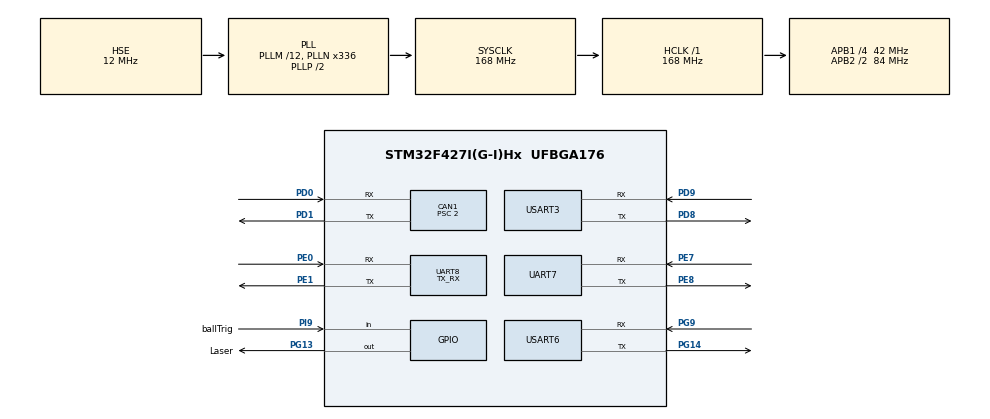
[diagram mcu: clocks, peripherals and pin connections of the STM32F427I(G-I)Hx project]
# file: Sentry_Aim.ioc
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CAN1.BS1=CAN_BS1_14TQ
CAN1.BS2=CAN_BS2_6TQ
CAN1.CalculateTimeQuantum=47.61904761904762
CAN1.NART=ENABLE
CAN1.Prescaler=2
CAN1.TXFP=ENABLE
Dma.Request0=UART8_RX
Dma.Request1=USART3_RX
Dma.Request2=USART6_RX
Dma.UART8_RX.0.Direction=DMA_PERIPH_TO_MEMORY
Dma.UART8_RX.0.FIFOMode=DMA_FIFOMODE_DISABLE
Dma.UART8_RX.0.Instance=DMA1_Stream6
Dma.UART8_RX.0.MemDataAlignment=DMA_MDATAALIGN_BYTE
Dma.UART8_RX.0.MemInc=DMA_MINC_ENABLE
Dma.UART8_RX.0.Mode=DMA_NORMAL
Dma.UART8_RX.0.PeriphDataAlignment=DMA_PDATAALIGN_BYTE
Dma.UART8_RX.0.PeriphInc=DMA_PINC_DISABLE
Dma.UART8_RX.0.Priority=DMA_PRIORITY_LOW
Dma.USART3_RX.1.Direction=DMA_PERIPH_TO_MEMORY
Dma.USART3_RX.1.FIFOMode=DMA_FIFOMODE_DISABLE
Dma.USART3_RX.1.Instance=DMA1_Stream1
Dma.USART3_RX.1.MemDataAlignment=DMA_MDATAALIGN_BYTE
Dma.USART3_RX.1.MemInc=DMA_MINC_ENABLE
Dma.USART3_RX.1.Mode=DMA_NORMAL
Dma.USART3_RX.1.PeriphDataAlignment=DMA_PDATAALIGN_BYTE
Dma.USART3_RX.1.PeriphInc=DMA_PINC_DISABLE
Dma.USART3_RX.1.Priority=DMA_PRIORITY_LOW
Dma.USART6_RX.2.Direction=DMA_PERIPH_TO_MEMORY
Dma.USART6_RX.2.FIFOMode=DMA_FIFOMODE_DISABLE
Dma.USART6_RX.2.Instance=DMA2_Stream1
Dma.USART6_RX.2.MemDataAlignment=DMA_MDATAALIGN_BYTE
Dma.USART6_RX.2.MemInc=DMA_MINC_ENABLE
Dma.USART6_RX.2.Mode=DMA_NORMAL
Dma.USART6_RX.2.PeriphDataAlignment=DMA_PDATAALIGN_BYTE
Dma.USART6_RX.2.PeriphInc=DMA_PINC_DISABLE
Dma.USART6_RX.2.Priority=DMA_PRIORITY_LOW
Mcu.Family=STM32F4
Mcu.Name=STM32F427I(G-I)Hx
Mcu.Package=UFBGA176
NVIC.CAN1_RX0_IRQn=true\:2\:2\:true\:false\:true\:true\:true
NVIC.DMA1_Stream1_IRQn=true\:0\:0\:false\:false\:true\:false\:true
NVIC.DMA1_Stream6_IRQn=true\:0\:0\:false\:false\:true\:false\:true
NVIC.DMA2_Stream1_IRQn=true\:0\:0\:false\:false\:true\:false\:true
NVIC.PriorityGroup=NVIC_PRIORITYGROUP_2
NVIC.TIM6_DAC_IRQn=true\:3\:3\:true\:false\:true\:true\:true
NVIC.UART8_IRQn=true\:0\:2\:true\:false\:true\:true\:true
NVIC.USART3_IRQn=true\:1\:2\:true\:false\:true\:true\:true
NVIC.USART6_IRQn=true\:1\:2\:true\:false\:true\:true\:true
PD0.Mode=Master
PD0.Signal=CAN1_RX
PD1.Mode=Master
PD1.Signal=CAN1_TX
PD8.Mode=Multiprocessor_communication
PD8.Signal=USART3_TX
PD9.Mode=Multiprocessor_communication
PD9.Signal=USART3_RX
PE0.Mode=Multiprocessor_communication
PE0.Signal=UART8_RX
PE1.Mode=Multiprocessor_communication
PE1.Signal=UART8_TX
PE7.Mode=Multiprocessor_communication
PE7.Signal=UART7_RX
PE8.Mode=Multiprocessor_communication
PE8.Signal=UART7_TX
PG13.GPIO_Label=Laser
PG13.GPIO_PuPd=GPIO_PULLDOWN
PG13.GPIO_Speed=GPIO_SPEED_FREQ_VERY_HIGH
PG13.PinState=GPIO_PIN_SET
PG13.Signal=GPIO_Output
PG14.Mode=Multiprocessor_communication
PG14.Signal=USART6_TX
PG9.Mode=Multiprocessor_communication
PG9.Signal=USART6_RX
PH0/OSC_IN.Mode=HSE-External-Oscillator
PH0/OSC_IN.Signal=RCC_OSC_IN
PH1/OSC_OUT.Mode=HSE-External-Oscillator
PH1/OSC_OUT.Signal=RCC_OSC_OUT
PI9.GPIO_Label=ballTrig
PI9.GPIO_PuPd=GPIO_PULLDOWN
PI9.Signal=GPIO_Input
ProjectManager.HeapSize=0x200
ProjectManager.StackSize=0x400
ProjectManager.TargetToolchain=MDK-ARM V5
RCC.48MHZClocksFreq_Value=84000000
RCC.AHBFreq_Value=168000000
RCC.APB1CLKDivider=RCC_HCLK_DIV4
RCC.APB1Freq_Value=42000000
RCC.APB1TimFreq_Value=84000000
RCC.APB2CLKDivider=RCC_HCLK_DIV2
RCC.APB2Freq_Value=84000000
RCC.APB2TimFreq_Value=168000000
RCC.CortexFreq_Value=168000000
RCC.HCLKFreq_Value=168000000
RCC.HSE_VALUE=12000000
RCC.HSI_VALUE=16000000
RCC.LSE_VALUE=32768
RCC.PLLM=12
RCC.PLLN=336
RCC.PLLSourceVirtual=RCC_PLLSOURCE_HSE
RCC.SYSCLKFreq_VALUE=168000000
RCC.SYSCLKSource=RCC_SYSCLKSOURCE_PLLCLK
RCC.VCOOutputFreq_Value=336000000
TIM6.AutoReloadPreload=TIM_AUTORELOAD_PRELOAD_ENABLE
TIM6.Period=999
TIM6.Prescaler=83
UART7.VirtualMode=Asynchronous
UART8.Mode=MODE_TX_RX
UART8.Parity=PARITY_NONE
UART8.VirtualMode=Asynchronous
USART3.VirtualMode=VM_ASYNC
USART6.VirtualMode=VM_ASYNC
VP_TIM6_VS_ClockSourceINT.Mode=Enable_Timer
board=custom

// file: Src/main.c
/* USER CODE BEGIN Header */
/**
  ******************************************************************************
  * @file           : main.c
  * @brief          : Main program body
  ******************************************************************************
  ** This notice applies to any and all portions of this file
  * that are not between comment pairs USER CODE BEGIN and
  * USER CODE END. Other portions of this file, whether
  * inserted by the user or by software development tools
  * are owned by their respective copyright owners.
  *
  * COPYRIGHT(c) 2019 STMicroelectronics
  *
  * Redistribution and use in source and binary forms, with or without modification,
  * are permitted provided that the following conditions are met:
  *   1. Redistributions of source code must retain the above copyright notice,
  *      this list of conditions and the following disclaimer.
  *   2. Redistributions in binary form must reproduce the above copyright notice,
  *      this list of conditions and the following disclaimer in the documentation
  *      and/or other materials provided with the distribution.
  *   3. Neither the name of STMicroelectronics nor the names of its contributors
  *      may be used to endorse or promote products derived from this software
  *      without specific prior written permission.
  *
  * THIS SOFTWARE IS PROVIDED BY THE COPYRIGHT HOLDERS AND CONTRIBUTORS "AS IS"
  * AND ANY EXPRESS OR IMPLIED WARRANTIES, INCLUDING, BUT NOT LIMITED TO, THE
  * IMPLIED WARRANTIES OF MERCHANTABILITY AND FITNESS FOR A PARTICULAR PURPOSE ARE
  * DISCLAIMED. IN NO EVENT SHALL THE COPYRIGHT HOLDER OR CONTRIBUTORS BE LIABLE
  * FOR ANY DIRECT, INDIRECT, INCIDENTAL, SPECIAL, EXEMPLARY, OR CONSEQUENTIAL
  * DAMAGES (INCLUDING, BUT NOT LIMITED TO, PROCUREMENT OF SUBSTITUTE GOODS OR
  * SERVICES; LOSS OF USE, DATA, OR PROFITS; OR BUSINESS INTERRUPTION) HOWEVER
  * CAUSED AND ON ANY THEORY OF LIABILITY, WHETHER IN CONTRACT, STRICT LIABILITY,
  * OR TORT (INCLUDING NEGLIGENCE OR OTHERWISE) ARISING IN ANY WAY OUT OF THE USE
  * OF THIS SOFTWARE, EVEN IF ADVISED OF THE POSSIBILITY OF SUCH DAMAGE.
  *
  ******************************************************************************
  */
/* USER CODE END Header */

#include "main.h"
#include "can.h"
#include "dma.h"
#include "tim.h"
#include "usart.h"
#include "gpio.h"

/* USER CODE BEGIN Includes */
#include "Gimbal_Ctrl.h"
#include "Loader_Ctrl.h"
#include "Shooter_Ctrl.h"
#include "Master_Comm.h"
#include "PC_Comm.h"
#include "IMU_Comm.h"
/* USER CODE END Includes */

/* USER CODE BEGIN PV */
/* Private variables ---------------------------------------------------------*/

/* USER CODE END PV */

void SystemClock_Config(void);
/* USER CODE BEGIN PFP */
/* Private function prototypes -----------------------------------------------*/

/* USER CODE END PFP */

int main(void)
{

  /* MCU Configuration--------------------------------------------------------*/

  /* Reset of all peripherals, Initializes the Flash interface and the Systick. */
  HAL_Init();

  /* Configure the system clock */
  SystemClock_Config();

  /* Initialize all configured peripherals */
  MX_GPIO_Init();
  MX_DMA_Init();
  MX_UART7_Init();
  MX_UART8_Init();
  MX_USART3_UART_Init();
  MX_CAN1_Init();
  MX_TIM6_Init();
  MX_USART6_UART_Init();
  /* USER CODE BEGIN 2 */

	/* 初始化电机控制参数 */

	Gimbal_CtrlInit(&sentryGimbal);
	Shooter_CtrlInit(&sentryShooter);

	Master_CommInit();		//初始化通信包
	PC_CommInit();
	IMU_CommInit();
	Master_Data_Receive_Start();
	PC_Data_Receive_Start();
	IMU_Data_Receive_Start();
	HAL_Delay(100);			//延时100ms等待IMU更新

	CAN_CommInit(&hcan1);	//初始化CAN通信并开始

	HAL_TIM_Base_Start_IT(&htim6);
  /* USER CODE END 2 */

  /* Infinite loop */
  while (1)
  {

  }
}

void SystemClock_Config(void)
{
  RCC_OscInitTypeDef RCC_OscInitStruct = {0};
  RCC_ClkInitTypeDef RCC_ClkInitStruct = {0};

  /** Configure the main internal regulator output voltage
  */
  __HAL_RCC_PWR_CLK_ENABLE();
  __HAL_PWR_VOLTAGESCALING_CONFIG(PWR_REGULATOR_VOLTAGE_SCALE1);
  /** Initializes the CPU, AHB and APB busses clocks
  */
  RCC_OscInitStruct.OscillatorType = RCC_OSCILLATORTYPE_HSE;
  RCC_OscInitStruct.HSEState = RCC_HSE_ON;
  RCC_OscInitStruct.PLL.PLLState = RCC_PLL_ON;
  RCC_OscInitStruct.PLL.PLLSource = RCC_PLLSOURCE_HSE;
  RCC_OscInitStruct.PLL.PLLM = 12;
  RCC_OscInitStruct.PLL.PLLN = 336;
  RCC_OscInitStruct.PLL.PLLP = RCC_PLLP_DIV2;
  RCC_OscInitStruct.PLL.PLLQ = 4;
  if (HAL_RCC_OscConfig(&RCC_OscInitStruct) != HAL_OK)
  {
    Error_Handler();
  }
  /** Initializes the CPU, AHB and APB busses clocks
  */
  RCC_ClkInitStruct.ClockType = RCC_CLOCKTYPE_HCLK|RCC_CLOCKTYPE_SYSCLK
                              |RCC_CLOCKTYPE_PCLK1|RCC_CLOCKTYPE_PCLK2;
  RCC_ClkInitStruct.SYSCLKSource = RCC_SYSCLKSOURCE_PLLCLK;
  RCC_ClkInitStruct.AHBCLKDivider = RCC_SYSCLK_DIV1;
  RCC_ClkInitStruct.APB1CLKDivider = RCC_HCLK_DIV4;
  RCC_ClkInitStruct.APB2CLKDivider = RCC_HCLK_DIV2;

  if (HAL_RCC_ClockConfig(&RCC_ClkInitStruct, FLASH_LATENCY_5) != HAL_OK)
  {
    Error_Handler();
  }
}

void Error_Handler(void)
{
  while(1)
  {
  }
}

/************************ (C) COPYRIGHT STMicroelectronics *****END OF FILE****/
